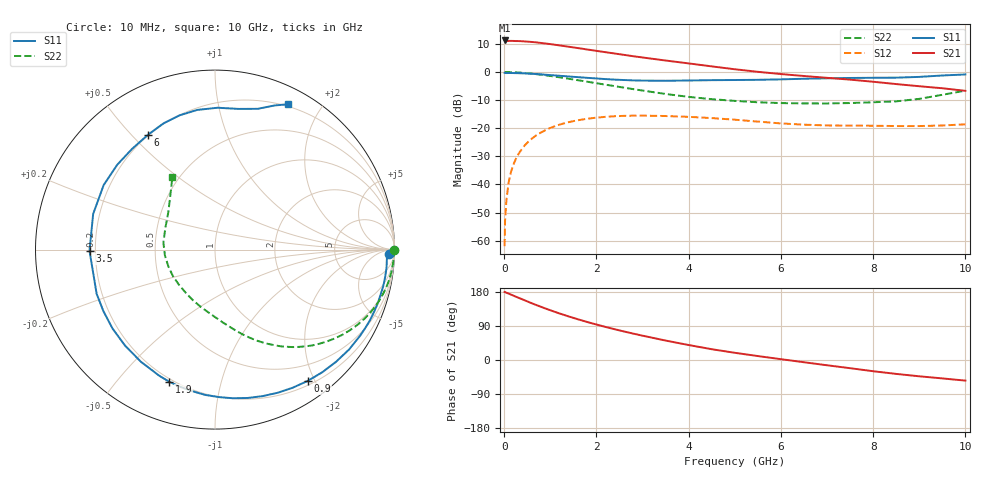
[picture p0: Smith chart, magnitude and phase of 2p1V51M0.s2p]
! (c) 2009  Infineon Technologies AG, Munich
! Infineon Technologies  Discrete & RF Semiconductors
! BFP420
! VCE =  1.5 V,  IC =  1.0 mA
! Common Emitter S-Parameters:  Nov 2009
# GHz  S  MA  R  50
!  f  S11  S21  S12  S22
! GHz  MAG  ANG  MAG  ANG  MAG  ANG  MAG  ANG
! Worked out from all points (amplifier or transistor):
!   46 points, 10 MHz to 10 GHz, reference 50 ohm
!   highest |S21| = 11.2 dB at 10 MHz (marker M1)
!   |S21| within 3 dB of that: start of sweep to 1.718 GHz
!   unconditionally stable (mu >= 1): 4.365 GHz to end of sweep
!   at 300 MHz: K = 0.02, MSG = 20.2 dB, |S12| = -29.5 dB
!   at 1.7 GHz: K = 0.29, MSG = 12.6 dB, |S12| = -16.9 dB
!   at 10 GHz: K = 1.36, MAG = 2.4 dB, |S12| = -18.6 dB
!   lowest NFmin = 0.53 dB at 900 MHz
!   S11 on the Smith chart (normalised r, x): 10 MHz: 41, -28; 900 MHz: 0.26, -1.91; 1.9 GHz: 0.19, -0.69; 3.5 GHz: 0.18, -0.01; 6 GHz: 0.20, +0.56; 10 GHz: 0.18, +1.60
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0.01  0.9673 -1.3  3.645 179.5  0.0008 64.3  0.9972 -0.1
0.02  0.963 -1.3  3.527 179.4  0.0023 84.5  0.9969 -0.6
0.05  0.9589 -3.0  3.549 177.4  0.0054 87.7  0.9969 -1.8
0.1  0.9612 -6.1  3.576 175.1  0.0112 86.1  0.9957 -3.7
0.2  0.9594 -12.2  3.574 170.0  0.0224 82.7  0.9903 -7.4
0.35  0.9517 -21.5  3.543 162.3  0.0391 76.9  0.9759 -12.8
0.6  0.9315 -36.7  3.425 149.7  0.0653 67.3  0.937 -21.5
0.9  0.8956 -54.7  3.216 135.7  0.093 56.3  0.8747 -31.0
1.2  0.8584 -72.0  2.977 122.8  0.116 46.3  0.8056 -39.5
1.4  0.834 -83.2  2.819 114.9  0.1285 40.0  0.7597 -44.7
1.7  0.7992 -99.0  2.595 103.9  0.1435 31.4  0.694 -51.5
1.9  0.7788 -109.2  2.452 96.9  0.1511 26.0  0.6527 -55.7
2.2  0.7488 -123.5  2.252 87.2  0.1598 18.6  0.5959 -61.4
2.6  0.7207 -142.4  2.02 75.2  0.1662 9.4  0.5268 -68.6
3  0.704 -159.5  1.816 64.2  0.1678 1.3  0.4686 -75.3
3.5  0.6992 -179.4  1.603 51.3  0.1651 -7.5  0.4075 -84.0
4.5  0.717 149.9  1.261 28.5  0.1518 -20.9  0.3293 -103.8
5.5  0.7271 129.3  1.009 10.4  0.1315 -28.9  0.29 -124.6
6  0.7408 120.3  0.921 2.2  0.122 -30.2  0.2803 -136.0
7  0.7737 104.8  0.789 -13.9  0.1123 -29.8  0.2763 -160.1
8.5  0.7947 80.5  0.611 -36.7  0.1095 -29.4  0.3011 157.0
10  0.9057 63.4  0.463 -54.4  0.1175 -26.5  0.4669 120.6
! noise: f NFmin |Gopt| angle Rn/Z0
0.9  0.53  0.67  34  0.35
1.8  1.15  0.44  77  0.27
2.4  1.28  0.44  100  0.22
3  1.61  0.45  131  0.15
4  1.9  0.47  -177  0.09
5  2.32  0.44  -133  0.45
6  3.43  0.6  -118  0.25
